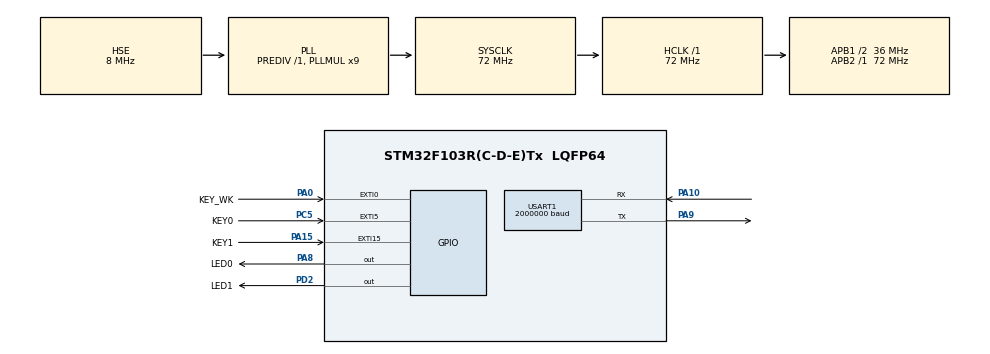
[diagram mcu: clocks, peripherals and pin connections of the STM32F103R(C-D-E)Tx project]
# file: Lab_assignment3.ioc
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Mcu.Family=STM32F1
Mcu.Name=STM32F103R(C-D-E)Tx
Mcu.Package=LQFP64
NVIC.EXTI0_IRQn=true\:2\:0\:true\:false\:true\:true\:true\:true
NVIC.EXTI15_10_IRQn=true\:2\:0\:true\:false\:true\:true\:true\:true
NVIC.EXTI9_5_IRQn=true\:2\:0\:true\:false\:true\:true\:true\:true
NVIC.PriorityGroup=NVIC_PRIORITYGROUP_2
NVIC.TIM3_IRQn=true\:3\:2\:true\:false\:true\:true\:true\:true
NVIC.USART1_IRQn=true\:1\:0\:true\:false\:true\:true\:true\:true
PA0-WKUP.GPIO_Label=KEY_WK
PA0-WKUP.GPIO_ModeDefaultEXTI=GPIO_MODE_IT_RISING
PA0-WKUP.GPIO_PuPd=GPIO_PULLDOWN
PA0-WKUP.Signal=GPXTI0
PA10.Mode=Asynchronous
PA10.Signal=USART1_RX
PA13.Mode=Serial_Wire
PA13.Signal=SYS_JTMS-SWDIO
PA14.Mode=Serial_Wire
PA14.Signal=SYS_JTCK-SWCLK
PA15.GPIO_Label=KEY1
PA15.GPIO_ModeDefaultEXTI=GPIO_MODE_IT_FALLING
PA15.GPIO_PuPd=GPIO_PULLUP
PA15.Signal=GPXTI15
PA8.GPIO_Label=LED0
PA8.PinState=GPIO_PIN_SET
PA8.Signal=GPIO_Output
PA9.Mode=Asynchronous
PA9.Signal=USART1_TX
PC5.GPIO_Label=KEY0
PC5.GPIO_ModeDefaultEXTI=GPIO_MODE_IT_FALLING
PC5.GPIO_PuPd=GPIO_PULLUP
PC5.Signal=GPXTI5
PD0-OSC_IN.Mode=HSE-External-Oscillator
PD0-OSC_IN.Signal=RCC_OSC_IN
PD1-OSC_OUT.Mode=HSE-External-Oscillator
PD1-OSC_OUT.Signal=RCC_OSC_OUT
PD2.GPIO_Label=LED1
PD2.PinState=GPIO_PIN_SET
PD2.Signal=GPIO_Output
ProjectManager.HeapSize=0x200
ProjectManager.StackSize=0x400
ProjectManager.TargetToolchain=STM32CubeIDE
RCC.AHBFreq_Value=72000000
RCC.APB1CLKDivider=RCC_HCLK_DIV2
RCC.APB1Freq_Value=36000000
RCC.APB1TimFreq_Value=72000000
RCC.APB2Freq_Value=72000000
RCC.APB2TimFreq_Value=72000000
RCC.HCLKFreq_Value=72000000
RCC.PLLMUL=RCC_PLL_MUL9
RCC.PLLSourceVirtual=RCC_PLLSOURCE_HSE
RCC.SYSCLKFreq_VALUE=72000000
RCC.SYSCLKSource=RCC_SYSCLKSOURCE_PLLCLK
RCC.USBFreq_Value=72000000
TIM2.Period=10000-1
TIM2.Prescaler=72-1
TIM3.Period=9999
TIM3.Prescaler=7199
USART1.BaudRate=2000000
USART1.VirtualMode=VM_ASYNC
USART1.WordLength=WORDLENGTH_8B
VP_TIM2_VS_ClockSourceINT.Mode=Internal
VP_TIM3_VS_ClockSourceINT.Mode=Internal
board=custom

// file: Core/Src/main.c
/* USER CODE BEGIN Header */
/**
  ******************************************************************************
  * @file           : main.c
  * @brief          : Main program body
  ******************************************************************************
  * @attention
  *
  * Copyright (c) 2024 STMicroelectronics.
  * All rights reserved.
  *
  * This software is licensed under terms that can be found in the LICENSE file
  * in the root directory of this software component.
  * If no LICENSE file comes with this software, it is provided AS-IS.
  *
  ******************************************************************************
  */
/* USER CODE END Header */
#include "main.h"
#include "tim.h"
#include "usart.h"
#include "gpio.h"

/* USER CODE BEGIN Includes */
#include "lcd_v4.h"
#include "KEY.h"

/* USER CODE END Includes */

/* USER CODE BEGIN PD */
#define ROW 60
#define COLUMN 45

/* USER CODE END PD */

void SystemClock_Config(void);

/* USER CODE BEGIN 0 */
extern UART_HandleTypeDef huart1;
extern uint8_t rxBuffer[20];
extern unsigned short pic[2710];
extern TIM_HandleTypeDef htim3;
extern uint8_t stop_flag;

/* USER CODE END 0 */

int main(void)
{

  /* MCU Configuration--------------------------------------------------------*/

  /* Reset of all peripherals, Initializes the Flash interface and the Systick. */
  HAL_Init();

  /* USER CODE BEGIN Init */
  lcd_init();
  /* USER CODE END Init */

  /* Configure the system clock */
  SystemClock_Config();

  /* Initialize all configured peripherals */
  MX_GPIO_Init();
  MX_USART1_UART_Init();
  MX_TIM3_Init();
  MX_TIM2_Init();
  /* USER CODE BEGIN 2 */
  HAL_UART_Receive_IT(&huart1,(uint8_t *)rxBuffer,1);
  HAL_TIM_Base_Start_IT(&htim3);
  uint8_t flag = 0;
//  HAL_TIM_Base_Start_IT(&htim2);
  /* USER CODE END 2 */

  /* Infinite loop */
  while (1)
  {

    /* USER CODE BEGIN 3 */
	  if (stop_flag == 1){

		  lcd_fill_circle(lcddev.width/2,lcddev.height/3,50,BLUE);
		  lcd_show_string(lcddev.width/2 - 100, lcddev.height/3 + 50, 300,16,16,"THE BEST PLAYER! STOP!",RED);
	  }
  }
  /* USER CODE END 3 */
}

void SystemClock_Config(void)
{
  RCC_OscInitTypeDef RCC_OscInitStruct = {0};
  RCC_ClkInitTypeDef RCC_ClkInitStruct = {0};

  /** Initializes the RCC Oscillators according to the specified parameters
  * in the RCC_OscInitTypeDef structure.
  */
  RCC_OscInitStruct.OscillatorType = RCC_OSCILLATORTYPE_HSE;
  RCC_OscInitStruct.HSEState = RCC_HSE_ON;
  RCC_OscInitStruct.HSEPredivValue = RCC_HSE_PREDIV_DIV1;
  RCC_OscInitStruct.HSIState = RCC_HSI_ON;
  RCC_OscInitStruct.PLL.PLLState = RCC_PLL_ON;
  RCC_OscInitStruct.PLL.PLLSource = RCC_PLLSOURCE_HSE;
  RCC_OscInitStruct.PLL.PLLMUL = RCC_PLL_MUL9;
  if (HAL_RCC_OscConfig(&RCC_OscInitStruct) != HAL_OK)
  {
    Error_Handler();
  }

  /** Initializes the CPU, AHB and APB buses clocks
  */
  RCC_ClkInitStruct.ClockType = RCC_CLOCKTYPE_HCLK|RCC_CLOCKTYPE_SYSCLK
                              |RCC_CLOCKTYPE_PCLK1|RCC_CLOCKTYPE_PCLK2;
  RCC_ClkInitStruct.SYSCLKSource = RCC_SYSCLKSOURCE_PLLCLK;
  RCC_ClkInitStruct.AHBCLKDivider = RCC_SYSCLK_DIV1;
  RCC_ClkInitStruct.APB1CLKDivider = RCC_HCLK_DIV2;
  RCC_ClkInitStruct.APB2CLKDivider = RCC_HCLK_DIV1;

  if (HAL_RCC_ClockConfig(&RCC_ClkInitStruct, FLASH_LATENCY_2) != HAL_OK)
  {
    Error_Handler();
  }
}

void Error_Handler(void)
{
  __disable_irq();
  while (1)
  {
  }
}
